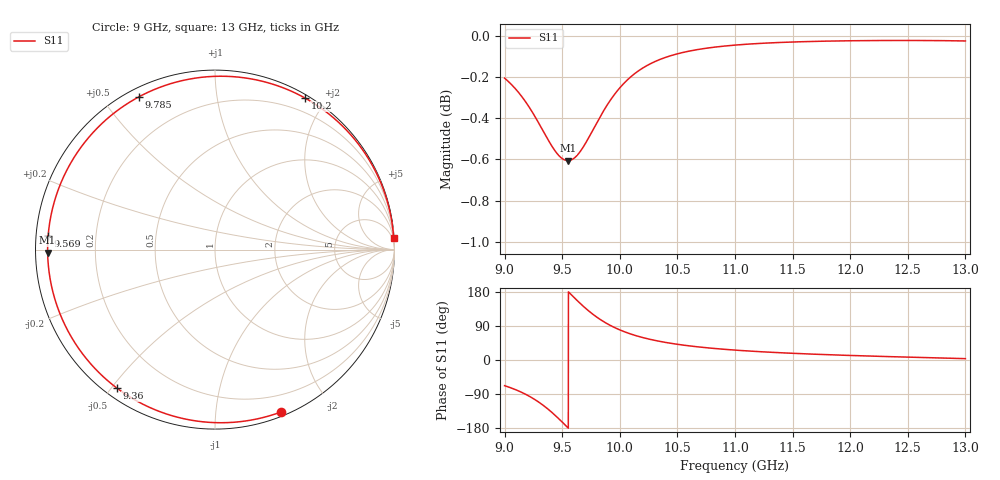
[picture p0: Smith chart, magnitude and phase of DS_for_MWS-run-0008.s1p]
! TOUCHSTONE file generated by CST DESIGN STUDIO
! Date and time: Tue Feb  4 15:49:55 2025
! Project name: C:\Work\MatlabApps\UnitCellOptimizationMatlab\CST\unitcell.cst
! Tree item: Tasks\Sweep1\SPara1\S-Parameters
! Header version: 2024
! Port assignment regex: !\s*Touchstone port\s*([0-9]+)\s*=\s*(CST MWS port|CST DES external port|CST DES block port)\s*(.+)\s* \(\"(.*)\"\)(\s*mode\s*([0-9]+))?.*
! Touchstone port assignment:
! Touchstone port 1 = CST DES external port 1 ("")
# GHz S MA R 50
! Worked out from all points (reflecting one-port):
!   4001 points, 9 GHz to 13 GHz, reference 50 ohm
!   lowest |S11| = -0.6 dB at 9.55 GHz (marker M1), VSWR 28.69, Z = 1.74 - j0.452 ohm
!   phase of S11 starts at -68 deg and turns -289 deg over the sweep
!   S11 on the Smith chart (normalised r, x): 9 GHz: 0.04, -1.49; 9.36 GHz: 0.04, -0.51; 9.569 GHz: 0.03, +0.04; 9.785 GHz: 0.03, +0.62; 10.2 GHz: 0.04, +1.75; 13 GHz: 1, +32
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9  0.9767 -67.8
9.104  0.9702 -79.4
9.215  0.9608 -95.8
9.291  0.953 -110.0
9.36  0.9454 -125.5
9.427  0.9387 -142.8
9.465  0.9357 -153.5
9.5  0.9337 -163.8
9.55  0.9326 -179.0
9.569  0.9328 175.2
9.623  0.935 159.0
9.683  0.9398 141.8
9.734  0.9451 128.5
9.785  0.9509 116.4
9.831  0.956 106.7
9.881  0.9612 97.4
9.936  0.9663 88.4
10  0.9714 79.4
10.094  0.9773 68.7
10.197  0.9822 59.4
10.336  0.9866 49.8
10.5  0.9901 41.4
10.721  0.9929 33.3
11  0.9949 26.1
11.5  0.9967 17.7
12  0.9973 12.0
12.5  0.9975 7.6
13  0.9972 3.6
